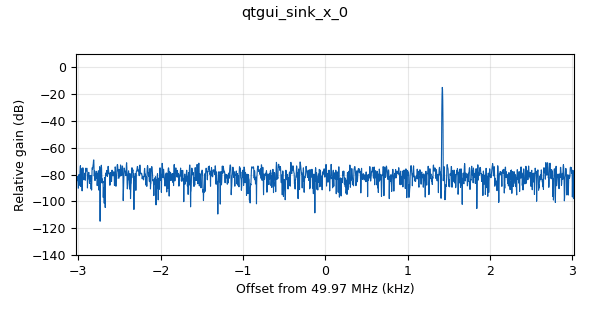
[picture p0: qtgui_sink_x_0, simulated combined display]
options:
  parameters:
    author: amp
    generate_options: qt_gui
    id: gr_meteor
    output_language: python
    title: Meteor Scatter Simulation
  states: {}

blocks:
- name: beacon_att
  id: variable_qtgui_range
  parameters:
    label: '"Beacon-Meteor ''Gain''"'
    start: '0'
    step: '0.05'
    stop: '1'
    value: '1'
  states: {}
- name: beacon_direct_att
  id: variable_qtgui_range
  parameters:
    label: '"Direct Beacon ''Attenuation''"'
    start: '0'
    step: '0.05'
    stop: '1'
    value: '0.5'
  states: {}
- name: beacon_freq
  id: variable_qtgui_entry
  parameters:
    label: Beacon Frequency
    type: real
    value: '49970000'
  states: {}
- name: beacon_received
  id: variable_qtgui_toggle_switch
  parameters:
    initPressed: 'True'
    label: Direct Beacon Signal
    pressed: '1'
    released: '0'
    type: int
    value: '1'
  states: {state: disabled}
- name: noiseLevel
  id: variable_qtgui_range
  parameters:
    label: Noise Level
    start: '0'
    step: '0.05'
    stop: '1'
    value: '0.10'
  states: {}
- name: riseFracc
  id: variable
  parameters:
    value: '0.1'
  states: {state: disabled}
- name: riseFracc
  id: variable_qtgui_range
  parameters:
    label: Fraction of Rising Power (Duration)
    start: '0.05'
    step: '0.05'
    stop: '0.5'
    value: '0.1'
  states: {}
- name: samp_rate
  id: variable
  parameters:
    value: '6048'
  states: {}
- name: samp_rate_label
  id: variable_qtgui_label
  parameters:
    label: 'Sampling Rate (Sa/s):'
    type: int
    value: samp_rate
  states: {}
- name: ud_active
  id: variable_qtgui_toggle_switch
  parameters:
    initPressed: 'True'
    label: Underdense Meteors
    pressed: '1'
    released: '0'
    type: int
    value: '1'
  states: {state: disabled}
- name: ud_dur
  id: variable_qtgui_entry
  parameters:
    label: 'Underdense Duration (s):'
    type: real
    value: '1'
  states: {state: disabled}
- name: ud_dur
  id: variable_qtgui_range
  parameters:
    label: Underdense Total Duration
    start: '0'
    step: '0.1'
    stop: '1'
    value: '0.5'
  states: {}
- name: ud_samples
  id: variable
  parameters:
    value: samp_rate*ud_dur
  states: {}
- name: ud_spacing
  id: variable_qtgui_range
  parameters:
    label: Underdense Time Spacing
    start: '1'
    step: '1'
    stop: '120'
    value: '10'
  states: {}
- name: analog_noise_source_x_0
  id: analog_noise_source_x
  parameters:
    amp: noiseLevel/10
    comment: Noise
    noise_type: analog.GR_GAUSSIAN
    seed: '0'
    type: complex
  states: {}
- name: analog_sig_source_x_0
  id: analog_sig_source_x
  parameters:
    alias: Beacon
    amp: '1'
    comment: Beacon
    freq: beacon_freq
    offset: '0'
    phase: '0'
    samp_rate: samp_rate
    type: complex
    waveform: analog.GR_SIN_WAVE
  states: {}
- name: blocks_add_xx_0
  id: blocks_add_xx
  parameters:
    num_inputs: '3'
    type: complex
  states: {}
- name: blocks_complex_to_mag_squared_0
  id: blocks_complex_to_mag_squared
  parameters: {}
  states: {state: disabled}
- name: blocks_complex_to_mag_squared_1
  id: blocks_complex_to_mag_squared
  parameters: {}
  states: {}
- name: blocks_multiply_const_vxx_0
  id: blocks_multiply_const_vxx
  parameters:
    comment: |-
      Beacon Direct 
      Signal Attenuation
    const: 1-beacon_direct_att
    type: complex
  states: {}
- name: blocks_multiply_const_vxx_0_0
  id: blocks_multiply_const_vxx
  parameters:
    comment: |-
      Beacon-Meteor
      Signal Attenuation
    const: beacon_att
    type: complex
  states: {}
- name: blocks_multiply_xx_0
  id: blocks_multiply_xx
  parameters:
    type: complex
  states: {}
- name: blocks_nlog10_ff_0
  id: blocks_nlog10_ff
  parameters:
    k: '0'
    n: '10'
  states: {state: disabled}
- name: blocks_nlog10_ff_1
  id: blocks_nlog10_ff
  parameters:
    k: '0'
  states: {}
- name: blocks_null_sink_1
  id: blocks_null_sink
  parameters:
    type: float
  states: {}
- name: blocks_null_source_0
  id: blocks_null_source
  parameters:
    type: complex
  states: {state: disabled}
- name: blocks_null_source_0_0
  id: blocks_null_source
  parameters:
    type: complex
  states: {state: disabled}
- name: blocks_selector_0
  id: blocks_selector
  parameters:
    enabled: 'True'
    input_index: beacon_received
    num_inputs: '2'
    num_outputs: '1'
    output_index: '0'
    type: complex
  states: {state: disabled}
- name: blocks_selector_0_0
  id: blocks_selector
  parameters:
    enabled: 'True'
    input_index: ud_active
    num_inputs: '2'
    num_outputs: '1'
    output_index: '0'
    type: complex
  states: {state: disabled}
- name: blocks_throttle2_0
  id: blocks_throttle2
  parameters:
    samples_per_second: samp_rate
    type: complex
  states: {}
- name: blocks_vector_source_x_0
  id: blocks_vector_source_x
  parameters:
    comment: Underdense Meteor Envelope
    repeat: 'True'
    type: complex
    vector: ([0.0]*100000 + [np.exp(-x/4000.0) for x in range(ud_samples)] + [0.0]*100000)
  states: {state: disabled}
- name: blocks_vector_source_x_0_0
  id: blocks_vector_source_x
  parameters:
    comment: Underdense Meteor Envelope
    repeat: 'True'
    type: complex
    vector: ([0.0]*int(ud_spacing*samp_rate) + [np.exp(x/(riseFracc*ud_samples)) for x in range(-int(riseFracc*ud_samples), 0)]+[np.exp(-x/((1-riseFracc)*ud_samples)) for x in range(0, int((1-riseFracc)*ud_samples))])
  states: {}
- name: display
  id: qtgui_tab_widget
  parameters:
    label0: Displays
    num_tabs: '1'
  states: {}
- name: epy_block_0
  id: epy_block
  parameters:
    _source_code: "import random\nimport numpy as np\nfrom gnuradio import gr\nimport pmt\n\nclass blk(gr.sync_block):\n    def __init__(self):\n        gr.sync_block.__init__(\n            self,\n            name=\"Random dShift Publisher\",\n            in_sig=None,\n            out_sig=[np.float32]   # optional float output stream\n        )\n        self.counter = 0\n        self.current_val = 0.0\n\n        # Message output port for variable updates\n        self.message_port_register_out(pmt.intern(\"freq_out\"))\n\n    def work(self, input_items, output_items):\n        out = output_items[0]\n\n        for i in range(len(out)):\n            if self.counter % 12096 == 0:\n                self.current_val = random.uniform(-25, 25)\n\n                # Build PMT pair: (variable name, value)\n                msg = pmt.cons(\n                    pmt.intern(\"dShift\"),\n                    pmt.from_double(self.current_val)\n                )\n\n                # Publish the message\n                self.message_port_pub(pmt.intern(\"freq_out\"), msg)\n\n                # Print to terminal\n                # print(f\"[Random dShift Publisher] dShift = {self.current_val:.3f}\")\n\n            out[i] = self.current_val\n            self.counter += 1\n\n        return len(out)\n\n"
  states: {}
- name: freq_xlating_fir_filter_xxx_0_1
  id: freq_xlating_fir_filter_xxx
  parameters:
    alias: doppler_shift
    center_freq: '0'
    comment: Doppler Shift
    decim: '1'
    samp_rate: samp_rate
    taps: firdes.complex_band_pass(1, samp_rate, -samp_rate/(2), samp_rate/(2), 10)
    type: ccc
  states: {}
- name: import_0
  id: import
  parameters:
    imports: import numpy as np
  states: {}
- name: qtgui_sink_x_0
  id: qtgui_sink_x
  parameters:
    bw: samp_rate
    comment: |-
      Output
      Spectrogram
    fc: beacon_freq
    fftsize: '2048'
    gui_hint: display@0:0,0,5,1
    plotconst: 'False'
    plotfreq: 'False'
    plottime: 'False'
    rate: '0.666'
    showrf: 'True'
    type: complex
  states: {}
- name: qtgui_time_sink_x_0
  id: qtgui_time_sink_x
  parameters:
    comment: Time Scope
    ctrlpanel: 'True'
    entags: 'False'
    grid: 'True'
    gui_hint: display@0:0,1,5,1
    label1: Re
    legend: 'False'
    size: '1024'
    srate: samp_rate
    tr_mode: qtgui.TRIG_MODE_NORM
    type: float
    ymax: '20'
    ymin: '0'
  states: {}

connections:
- [analog_noise_source_x_0, '0', blocks_add_xx_0, '2']
- [analog_sig_source_x_0, '0', blocks_multiply_const_vxx_0, '0']
- [analog_sig_source_x_0, '0', blocks_multiply_const_vxx_0_0, '0']
- [blocks_add_xx_0, '0', blocks_throttle2_0, '0']
- [blocks_complex_to_mag_squared_0, '0', blocks_nlog10_ff_0, '0']
- [blocks_complex_to_mag_squared_1, '0', blocks_nlog10_ff_1, '0']
- [blocks_multiply_const_vxx_0, '0', blocks_add_xx_0, '0']
- [blocks_multiply_const_vxx_0_0, '0', blocks_multiply_xx_0, '0']
- [blocks_multiply_xx_0, '0', freq_xlating_fir_filter_xxx_0_1, '0']
- [blocks_nlog10_ff_1, '0', qtgui_time_sink_x_0, '0']
- [blocks_null_source_0, '0', blocks_selector_0, '0']
- [blocks_null_source_0_0, '0', blocks_selector_0_0, '0']
- [blocks_throttle2_0, '0', blocks_complex_to_mag_squared_1, '0']
- [blocks_throttle2_0, '0', qtgui_sink_x_0, '0']
- [blocks_vector_source_x_0_0, '0', blocks_multiply_xx_0, '1']
- [epy_block_0, '0', blocks_null_sink_1, '0']
- [epy_block_0, freq_out, freq_xlating_fir_filter_xxx_0_1, freq]
- [freq_xlating_fir_filter_xxx_0_1, '0', blocks_add_xx_0, '1']

metadata:
  file_format: 1
  grc_version: 3.10.9.2
